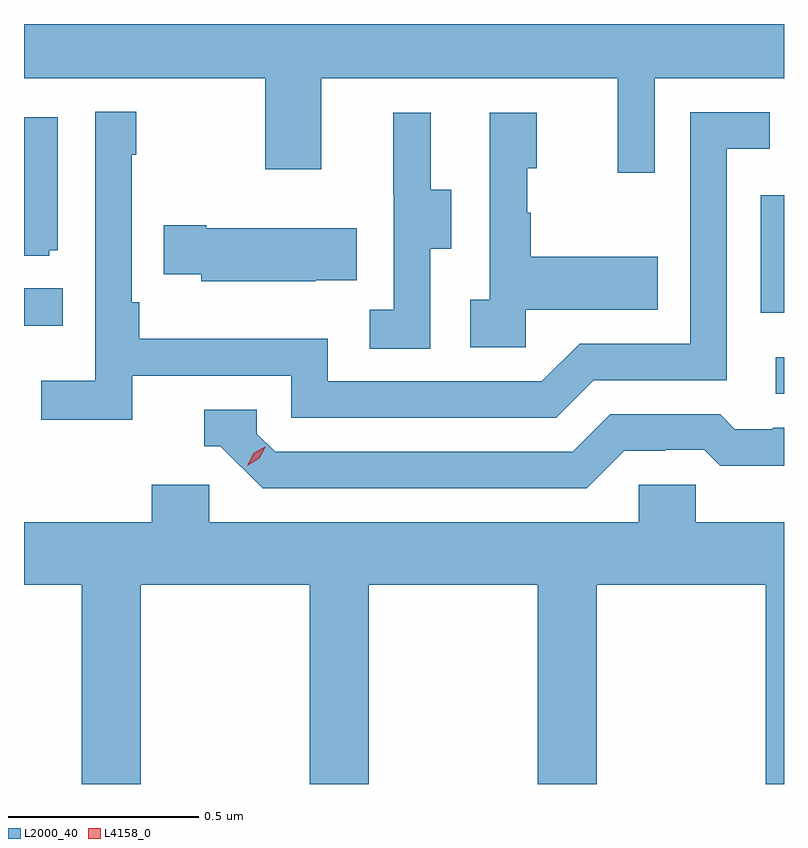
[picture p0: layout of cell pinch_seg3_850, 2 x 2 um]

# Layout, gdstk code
import gdstk
lib = gdstk.Library(unit=1e-6, precision=1e-09)
def R(c, l, rs):  # rectangles x0, y0, x1, y1
    for r in rs: c.add(gdstk.rectangle(r[:2], r[2:], *l))
def P(c, l, *ps):  # polygons
    for p in ps: c.add(gdstk.Polygon(p, *l))
L2000_40 = (2000, 40)
L4158_0 = (4158, 0)

pinch_seg3_850 = lib.new_cell('pinch_seg3_850')
R(pinch_seg3_850, L2000_40, [(854.481,709.41,854.503,709.506), (852.503,709.589,852.605,709.688), (854.442,709.623,854.503,709.932)])
P(pinch_seg3_850, L2000_40, [(854.163,710.24),(854.503,710.24),(854.503,710.383),(852.503,710.383),(852.503,710.24),(853.138,710.24),(853.138,710.001),(853.285,710.001),(853.285,710.24),(854.066,710.24),(854.066,709.992),(854.163,709.992)],
  [(852.788,709.458),(853.206,709.458),(853.206,709.347),(853.903,709.347),(854.002,709.446),(854.352,709.446),(854.352,710.055),(854.465,710.055),(854.465,710.151),(854.256,710.151),(854.256,709.542),(853.965,709.542),(853.866,709.443),(853.302,709.443),(853.302,709.555),(852.806,709.555),(852.806,709.651),(852.786,709.651),(852.786,710.039),(852.799,710.039),(852.799,710.152),(852.69,710.152),(852.69,709.444),(852.549,709.444),(852.549,709.342),(852.788,709.342)],
  [(853.824,709.631),(854.171,709.631),(854.171,709.771),(853.837,709.771),(853.837,709.886),(853.827,709.886),(853.827,710.004),(853.852,710.004),(853.852,710.149),(853.728,710.149),(853.728,709.658),(853.677,709.658),(853.677,709.533),(853.824,709.533)],
  [(853.572,709.792),(853.627,709.792),(853.627,709.947),(853.573,709.947),(853.573,710.149),(853.475,710.149),(853.475,709.935),(853.476,709.935),(853.476,709.631),(853.413,709.631),(853.413,709.528),(853.572,709.528)],
  [(852.57,709.788),(852.592,709.788),(852.592,710.137),(852.503,710.137),(852.503,709.773),(852.57,709.773)],
  [(853.271,709.709),(853.379,709.709),(853.379,709.846),(852.982,709.846),(852.982,709.854),(852.871,709.854),(852.871,709.724),(852.969,709.724),(852.969,709.706),(853.271,709.706)],
  [(854.083,709.26),(854.19,709.26),(854.19,709.263),(854.293,709.263),(854.335,709.221),(854.503,709.221),(854.503,709.32),(854.473,709.32),(854.473,709.317),(854.374,709.317),(854.335,709.356),(854.046,709.356),(853.947,709.257),(853.164,709.257),(853.116,709.305),(853.116,709.368),(852.977,709.368),(852.977,709.272),(853.02,709.272),(853.131,709.161),(853.984,709.161)],
  [(852.81,708.908),(853.255,708.908),(853.255,708.383),(853.41,708.383),(853.41,708.908),(853.855,708.908),(853.855,708.383),(854.01,708.383),(854.01,708.908),(854.455,708.908),(854.455,708.383),(854.503,708.383),(854.503,709.072),(854.271,709.072),(854.271,709.17),(854.121,709.17),(854.121,709.072),(852.99,709.072),(852.99,709.17),(852.839,709.17),(852.839,709.072),(852.503,709.072),(852.503,708.908),(852.655,708.908),(852.655,708.383),(852.81,708.383)])
P(pinch_seg3_850, L4158_0, [(853.091,709.22),(853.091,709.221),(853.108,709.253),(853.139,709.272),(853.139,709.272),(853.139,709.272),(853.122,709.24),(853.091,709.22)])

lib.write_gds('pinch_seg3_850.gds')
